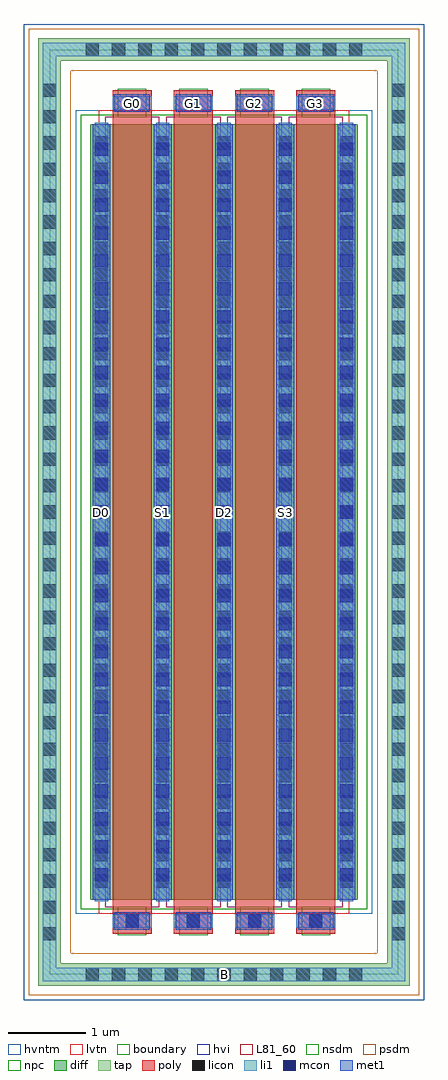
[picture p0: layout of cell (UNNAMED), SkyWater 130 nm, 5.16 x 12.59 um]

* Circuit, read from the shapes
.subckt (UNNAMED) B D0 D2 G0 G1 G2 G3 S1 S3
XM1 S1 G0 D0 B sky130_fd_pr__nfet_05v0_nvt w=10 l=0.5
XM2 D2 G1 S1 B sky130_fd_pr__nfet_05v0_nvt w=10 l=0.5
XM3 S3 G2 D2 B sky130_fd_pr__nfet_05v0_nvt w=10 l=0.5
XM4 n1 G3 S3 B sky130_fd_pr__nfet_05v0_nvt w=10 l=0.5
.ends

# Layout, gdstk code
import gdstk
lib = gdstk.Library(unit=1e-6, precision=1e-09)
def R(c, l, rs):  # rectangles x0, y0, x1, y1
    for r in rs: c.add(gdstk.rectangle(r[:2], r[2:], *l))
def A(c, l, x, y, w, h, nx, ny, dx, dy):  # array of equal rectangles
    R(c, l, [(x+i*dx, y+j*dy, x+i*dx+w, y+j*dy+h) for i in range(nx) for j in range(ny)])
diff = (65, 20)
tap = (65, 44)
poly = (66, 20)
licon = (66, 44)
li1 = (67, 20)
mcon = (67, 44)
met1 = (68, 20)
hvi = (75, 20)
L81_60 = (81, 60)
nsdm = (93, 44)
psdm = (94, 20)
npc = (95, 20)
hvntm = (125, 20)
lvtn = (125, 44)
boundary = (235, 4)

c__unnamed_ = lib.new_cell('(UNNAMED)')
R(c__unnamed_, diff, [(-1.725,-5,1.725,5)])
R(c__unnamed_, tap, [(-2.395,-6.11,2.395,-5.82), (-2.395,-5.82,-2.105,5.82), (2.105,-5.82,2.395,5.82), (-2.395,5.82,2.395,6.11)])
A(c__unnamed_, poly, -1.435, -5.44, 0.5, 10.88, 4, 1, 0.79, 0)
A(c__unnamed_, licon, -1.785, -6.05, 0.17, 0.17, 11, 2, 0.34, 11.93)
A(c__unnamed_, licon, -2.335, -5.525, 0.17, 0.17, 1, 33, 0, 0.34)
A(c__unnamed_, licon, 2.165, -5.525, 0.17, 0.17, 1, 33, 0, 0.34)
A(c__unnamed_, licon, -1.27, -5.36, 0.17, 0.17, 4, 2, 0.79, 10.55)
A(c__unnamed_, licon, -1.665, -4.845, 0.17, 0.17, 5, 29, 0.79, 0.34)
A(c__unnamed_, li1, -1.435, -5.36, 0.5, 0.17, 4, 2, 0.79, 10.55)
A(c__unnamed_, li1, -1.665, -5.02, 0.17, 10.04, 5, 1, 0.79, 0)
R(c__unnamed_, li1, [(-2.335,-6.05,2.335,-5.88), (-2.335,-5.88,-2.165,5.88), (2.165,-5.88,2.335,5.88), (-2.335,5.88,2.335,6.05)])
A(c__unnamed_, mcon, -1.27, -5.36, 0.17, 0.17, 4, 2, 0.79, 10.55)
A(c__unnamed_, mcon, -1.665, -4.765, 0.17, 0.17, 5, 27, 0.79, 0.36)
A(c__unnamed_, met1, -1.415, -5.39, 0.46, 0.23, 4, 2, 0.79, 10.55)
A(c__unnamed_, met1, -1.695, -5, 0.23, 10, 5, 1, 0.79, 0)
R(c__unnamed_, hvi, [(-2.58,-6.295,2.58,6.295)])
A(c__unnamed_, L81_60, -1.535, -5.1, 0.7, 10.2, 4, 1, 0.79, 0)
R(c__unnamed_, nsdm, [(-1.85,-5.125,1.85,5.125)])
R(c__unnamed_, psdm, [(-2.52,-6.235,2.52,-5.695), (-2.52,-5.695,-1.98,5.695), (1.98,-5.695,2.52,5.695), (-2.52,5.695,2.52,6.235)])
A(c__unnamed_, npc, -1.37, -5.46, 0.37, 0.37, 4, 2, 0.79, 10.55)
R(c__unnamed_, hvntm, [(-1.91,-5.185,1.91,5.185)])
R(c__unnamed_, lvtn, [(-1.615,-5.18,1.615,5.18)])
R(c__unnamed_, boundary, [(-2.25,-5.965,2.25,5.965)])
c__unnamed_.add(gdstk.Label('B', (0,-5.965), layer=67, texttype=5))
c__unnamed_.add(gdstk.Label('D0', (-1.58,0), layer=67, texttype=5))
c__unnamed_.add(gdstk.Label('G0', (-1.185,5.275), layer=67, texttype=5))
c__unnamed_.add(gdstk.Label('S1', (-0.79,0), layer=67, texttype=5))
c__unnamed_.add(gdstk.Label('G1', (-0.395,5.275), layer=67, texttype=5))
c__unnamed_.add(gdstk.Label('D2', (0,0), layer=67, texttype=5))
c__unnamed_.add(gdstk.Label('G2', (0.395,5.275), layer=67, texttype=5))
c__unnamed_.add(gdstk.Label('S3', (0.79,0), layer=67, texttype=5))
c__unnamed_.add(gdstk.Label('G3', (1.185,5.275), layer=67, texttype=5))

lib.write_gds('_UNNAMED_.gds')
